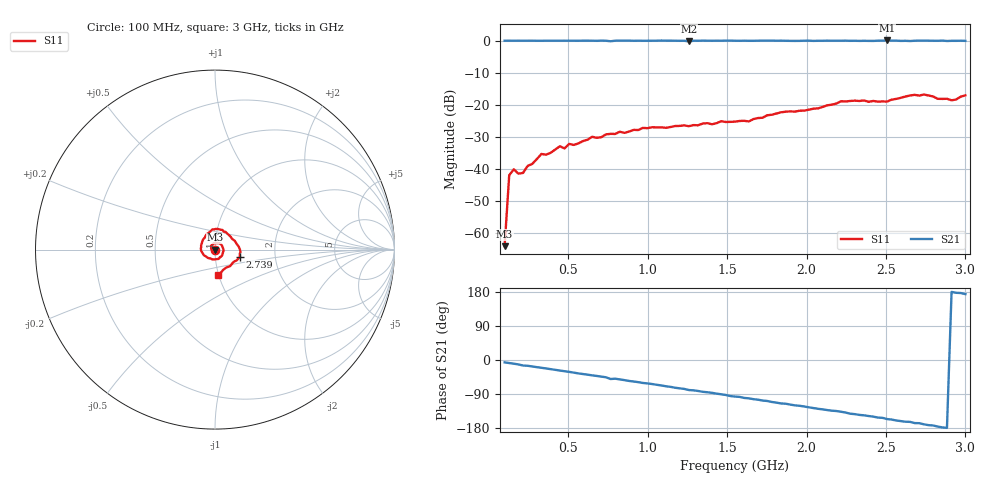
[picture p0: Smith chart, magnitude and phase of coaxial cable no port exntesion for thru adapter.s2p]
# HZ S RI R 50
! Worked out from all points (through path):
!   101 points, 100 MHz to 3 GHz, reference 50 ohm
!   highest |S21| = 0.08 dB at 2.507 GHz (marker M1); lowest = -0.2 dB at 1.26 GHz (marker M2)
!   group delay of S21, straight-line fit = 172 ps
!   lowest |S11| = -64.1 dB at 100 MHz (marker M3), VSWR 1.00, Z = 50 - j0.0555 ohm
!   |S11| at or under -10 dB: start of sweep to end of sweep
!   S12 and S22 are empty: the file has one direction only
!   S11 on the Smith chart (normalised r, x): 100 MHz: 1.00, -0.00; 2.739 GHz: 1.32, -0.10; 3 GHz: 0.99, -0.28
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1e8  0.000288 -0.000555  0.9942 -0.1077  0 0  0 0
1.29e8  -0.00662 -0.00449  0.9913 -0.1398  0 0  0 0
1.58e8  -0.00771 -0.00619  0.9851 -0.1695  0 0  0 0
1.87e8  -0.00822 -0.00197  0.9804 -0.2027  0 0  0 0
2.16e8  -0.00677 -0.00542  0.967 -0.2518  0 0  0 0
3.32e8  -0.0166 -0.0041  0.9339 -0.35  0 0  0 0
5.93e8  -0.0197 0.0188  0.7997 -0.6031  0 0  0 0
7.38e8  -0.00909 0.0334  0.6992 -0.7134  0 0  0 0
7.67e8  -0.00486 0.0349  0.6282 -0.7535  0 0  0 0
8.25e8  0.00235 0.038  0.63 -0.783  0 0  0 0
1.086e9  0.0389 0.0216  0.3905 -0.928  0 0  0 0
1.26e9  0.0448 -0.0123  0.1809 -0.9578  0 0  0 0
1.55e9  1.7e-05 -0.0547  -0.1139 -0.9925  0 0  0 0
1.637e9  -0.0267 -0.0483  -0.1925 -0.9779  0 0  0 0
1.753e9  -0.0604 -0.033  -0.3133 -0.9553  0 0  0 0
2.043e9  -0.0665 0.0562  -0.595 -0.796  0 0  0 0
2.217e9  -0.0148 0.1129  -0.7256 -0.6875  0 0  0 0
2.507e9  0.0955 0.0591  -0.9211 -0.4128  0 0  0 0
2.536e9  0.1099 0.0491  -0.9261 -0.3894  0 0  0 0
2.739e9  0.1395 -0.0387  -0.9886 -0.1785  0 0  0 0
2.913e9  0.0616 -0.1003  -0.9961 0.00464  0 0  0 0
3e9  0.0141 -0.1401  -0.9888 0.1072  0 0  0 0
